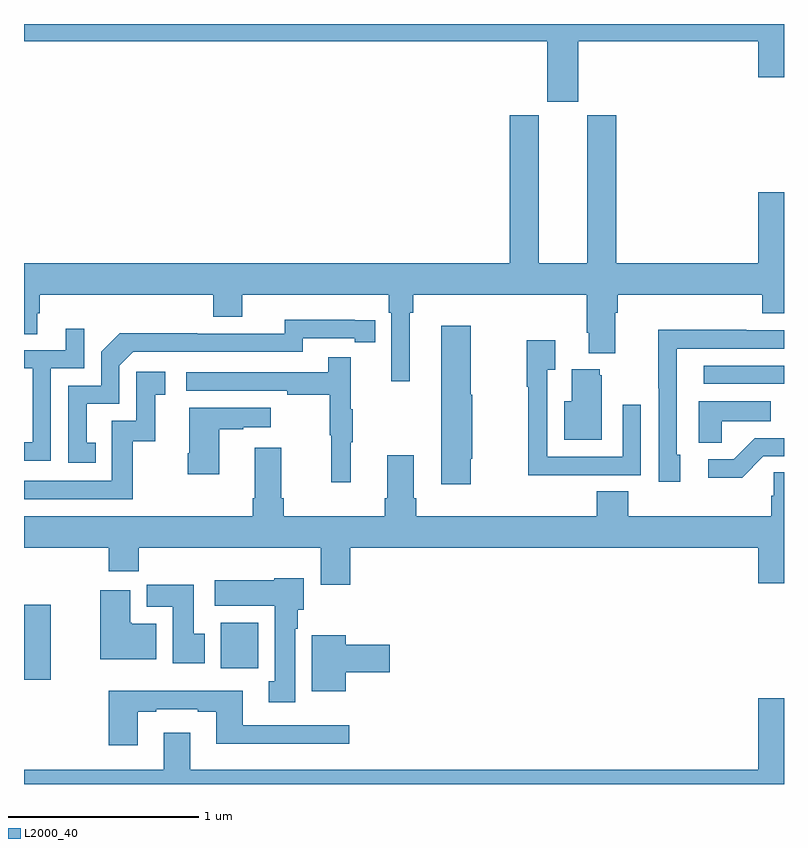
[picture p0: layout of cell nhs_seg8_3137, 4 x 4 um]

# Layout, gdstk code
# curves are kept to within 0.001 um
import gdstk
lib = gdstk.Library(unit=1e-6, precision=1e-09)
def R(c, l, rs):  # rectangles x0, y0, x1, y1
    for r in rs: c.add(gdstk.rectangle(r[:2], r[2:], *l))
def P(c, l, *ps):  # polygons
    for p in ps: c.add(gdstk.Polygon(p, *l))
L2000_40 = (2000, 40)

nhs_seg8_3137 = lib.new_cell('nhs_seg8_3137')
R(nhs_seg8_3137, L2000_40, [(305,1138.449,305.14,1138.843), (306.035,1138.508,306.232,1138.75), (308.577,1140.006,309,1140.102)])
P(nhs_seg8_3137, L2000_40, [(307.918,1141.808),(308.864,1141.808),(308.864,1141.62),(309,1141.62),(309,1141.9),(305,1141.9),(305,1141.808),(307.754,1141.808),(307.754,1141.491),(307.918,1141.491)],
  [(307.03,1140.38),(307.049,1140.38),(307.049,1140.476),(307.961,1140.476),(307.961,1140.274),(307.973,1140.274),(307.973,1140.167),(308.113,1140.167),(308.113,1140.38),(308.126,1140.38),(308.126,1140.476),(308.885,1140.476),(308.885,1140.377),(309,1140.377),(309,1141.015),(308.864,1141.015),(308.864,1140.64),(308.117,1140.64),(308.117,1141.419),(307.964,1141.419),(307.964,1140.64),(307.708,1140.64),(307.708,1141.419),(307.556,1141.419),(307.556,1140.64),(305,1140.64),(305,1140.268),(305.071,1140.268),(305.071,1140.378),(305.084,1140.378),(305.084,1140.476),(305.996,1140.476),(305.996,1140.359),(306.148,1140.359),(306.148,1140.476),(306.92,1140.476),(306.92,1140.38),(306.933,1140.38),(306.933,1140.021),(307.03,1140.021)],
  [(305.378,1139.697),(305.329,1139.697),(305.329,1139.901),(305.502,1139.901),(305.502,1140.102),(305.574,1140.174),(306.468,1140.174),(306.468,1140.246),(306.74,1140.246),(306.74,1140.226),(306.848,1140.226),(306.848,1140.342),(306.372,1140.343),(306.372,1140.27),(305.912,1140.27),(305.912,1140.272),(305.504,1140.272),(305.406,1140.174),(305.406,1139.997),(305.232,1139.997),(305.232,1139.592),(305.378,1139.592)],
  [(307.35,1139.613),(307.36,1139.613),(307.36,1139.949),(307.35,1139.949),(307.35,1140.313),(307.196,1140.313),(307.196,1139.478),(307.35,1139.478)],
  [(305.142,1140.087),(305.316,1140.087),(305.316,1140.295),(305.219,1140.295),(305.219,1140.183),(305,1140.183),(305,1140.087),(305.046,1140.087),(305.046,1139.698),(305,1139.698),(305,1139.601),(305.142,1139.601)],
  [(308.455,1139.634),(308.436,1139.634),(308.436,1140.192),(309,1140.192),(309,1140.288),(308.801,1140.288),(308.801,1140.29),(308.338,1140.29),(308.338,1139.983),(308.34,1139.983),(308.34,1139.49),(308.455,1139.49)],
  [(307.931,1139.526),(308.247,1139.526),(308.247,1139.896),(308.151,1139.896),(308.151,1139.622),(307.755,1139.622),(307.755,1140.079),(307.795,1140.079),(307.795,1140.235),(307.647,1140.235),(307.647,1139.99),(307.654,1139.99),(307.654,1139.525),(307.931,1139.525)],
  [(306.719,1139.699),(306.73,1139.699),(306.73,1139.873),(306.719,1139.873),(306.719,1140.145),(306.601,1140.145),(306.601,1140.066),(305.853,1140.066),(305.853,1139.97),(306.385,1139.97),(306.385,1139.95),(306.609,1139.95),(306.609,1139.736),(306.616,1139.736),(306.616,1139.487),(306.719,1139.487)],
  [(308.041,1140.051),(308.03,1140.051),(308.03,1140.082),(307.883,1140.082),(307.883,1139.914),(307.844,1139.914),(307.844,1139.711),(308.041,1139.711)],
  [(305.572,1139.703),(305.69,1139.703),(305.69,1139.949),(305.743,1139.949),(305.743,1140.07),(305.592,1140.07),(305.592,1139.811),(305.463,1139.811),(305.463,1139.496),(305,1139.496),(305,1139.4),(305.572,1139.4)],
  [(308.673,1139.81),(308.93,1139.81),(308.93,1139.914),(308.552,1139.914),(308.552,1139.695),(308.673,1139.695)],
  [(306.028,1139.767),(306.155,1139.767),(306.155,1139.777),(306.298,1139.777),(306.298,1139.881),(305.87,1139.881),(305.87,1139.641),(305.863,1139.641),(305.863,1139.529),(306.028,1139.529)],
  [(308.892,1139.625),(309,1139.625),(309,1139.721),(308.846,1139.721),(308.735,1139.61),(308.601,1139.61),(308.601,1139.513),(308.779,1139.513)],
  [(306.716,1139.144),(308.864,1139.144),(308.864,1138.956),(309,1138.956),(309,1139.54),(308.946,1139.54),(308.946,1139.417),(308.933,1139.417),(308.933,1139.308),(308.18,1139.308),(308.18,1139.441),(308.015,1139.441),(308.015,1139.308),(307.064,1139.308),(307.064,1139.404),(307.051,1139.404),(307.051,1139.629),(306.911,1139.629),(306.911,1139.404),(306.899,1139.404),(306.899,1139.308),(306.368,1139.308),(306.368,1139.404),(306.355,1139.404),(306.355,1139.671),(306.215,1139.671),(306.215,1139.404),(306.203,1139.404),(306.203,1139.308),(305,1139.308),(305,1139.144),(305.447,1139.144),(305.447,1139.02),(305.603,1139.02),(305.603,1139.144),(306.563,1139.144),(306.563,1138.95),(306.716,1138.95)],
  [(306.427,1138.718),(306.442,1138.718),(306.442,1138.818),(306.472,1138.818),(306.472,1138.984),(306.318,1138.984),(306.318,1138.972),(306.003,1138.972),(306.003,1138.838),(306.32,1138.838),(306.32,1138.442),(306.287,1138.442),(306.287,1138.329),(306.427,1138.329)],
  [(305.95,1138.692),(305.893,1138.692),(305.893,1138.95),(305.645,1138.95),(305.645,1138.832),(305.783,1138.832),(305.783,1138.536),(305.95,1138.536)],
  [(305.695,1138.744),(305.566,1138.744),(305.566,1138.75),(305.56,1138.75),(305.56,1138.921),(305.402,1138.921),(305.402,1138.556),(305.695,1138.556)],
  [(306.694,1138.487),(306.925,1138.487),(306.925,1138.634),(306.694,1138.634),(306.694,1138.684),(306.515,1138.684),(306.515,1138.388),(306.694,1138.388)],
  [(305.599,1138.281),(305.695,1138.281),(305.695,1138.293),(305.915,1138.293),(305.915,1138.281),(306.011,1138.281),(306.011,1138.112),(306.712,1138.112),(306.712,1138.209),(306.151,1138.209),(306.151,1138.39),(305.447,1138.39),(305.447,1138.104),(305.599,1138.104)],
  [(309,1138.351),(308.864,1138.351),(308.864,1137.976),(305.875,1137.976),(305.875,1138.171),(305.735,1138.171),(305.735,1137.976),(305,1137.976),(305,1137.9),(309,1137.9)])

lib.write_gds('nhs_seg8_3137.gds')
